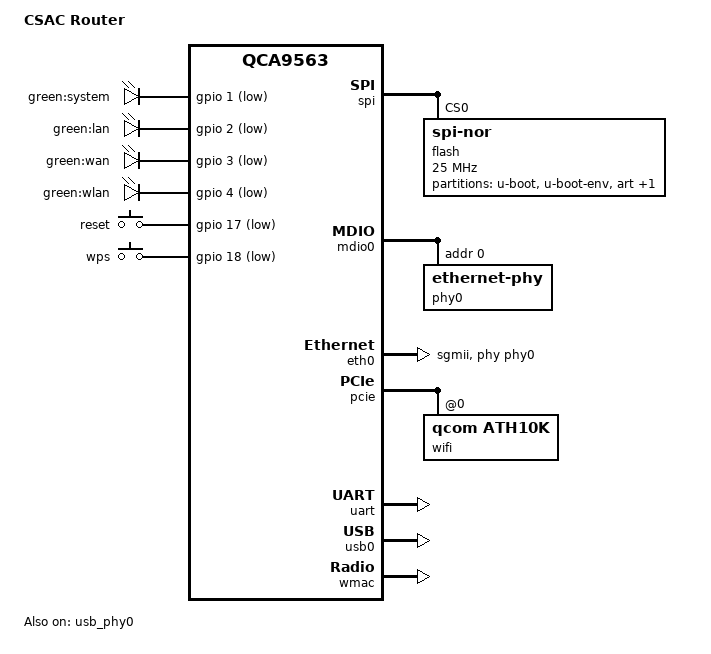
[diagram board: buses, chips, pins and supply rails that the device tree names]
// SPDX-License-Identifier: GPL-2.0-or-later OR MIT
/dts-v1/;
#include "qca956x.dtsi"
#include <dt-bindings/gpio/gpio.h>
#include <dt-bindings/input/input.h>
/ {
	compatible = "csac,csac-router", "qca,qca9563";
	model = "CSAC Router";
	aliases {
		led-boot = &led_system;
		led-failsafe = &led_system;
		led-running = &led_system;
		led-upgrade = &led_system;
	};
	chosen {
		bootargs = "console=ttyS0,115200n8";
	};
	leds {
		compatible = "gpio-leds";
		led_system: system {
			label = "green:system";
			gpios = <&gpio 1 GPIO_ACTIVE_LOW>;
			default-state = "on";
		};
		lan {
			label = "green:lan";
			gpios = <&gpio 2 GPIO_ACTIVE_LOW>;
		};
		wan {
			label = "green:wan";
			gpios = <&gpio 3 GPIO_ACTIVE_LOW>;
		};
		wlan {
			label = "green:wlan";
			gpios = <&gpio 4 GPIO_ACTIVE_LOW>;
			linux,default-trigger = "phy0tpt";
		};
	};
	keys {
		compatible = "gpio-keys";
		reset {
			label = "reset";
			gpios = <&gpio 17 GPIO_ACTIVE_LOW>;
			linux,code = <KEY_RESTART>;
		};
		wps {
			label = "wps";
			gpios = <&gpio 18 GPIO_ACTIVE_LOW>;
			linux,code = <KEY_WPS_BUTTON>;
		};
	};
};
&spi {
	status = "okay";
	flash@0 {
		compatible = "jedec,spi-nor";
		reg = <0>;
		spi-max-frequency = <25000000>;
		partitions {
			compatible = "fixed-partitions";
			#address-cells = <1>;
			#size-cells = <1>;
			partition@0 {
				label = "u-boot";
				reg = <0x000000 0x010000>;
				read-only;
			};
			partition@10000 {
				label = "u-boot-env";
				reg = <0x010000 0x010000>;
			};
			partition@20000 {
				label = "art";
				reg = <0x020000 0x010000>;
				read-only;
			};
			partition@30000 {
				compatible = "denx,uimage";
				label = "firmware";
				reg = <0x030000 0x7d0000>;
			};
		};
	};
};
&mdio0 {
	status = "okay";
	phy0: ethernet-phy@0 {
		reg = <0>;
		phy-mode = "sgmii";
		qca,ar8327-initvals = <
			0x04 0x07600000 /* PORT0 PAD MODE CTRL */
			0x10 0x80000080 /* POWER_ON_STRAP */
			0x50 0xc737c737 /* LED_CTRL0 */
			0x54 0x00000000 /* LED_CTRL1 */
			0x58 0x00000000 /* LED_CTRL2 */
			0x5c 0x00000000 /* LED_CTRL3 */
			0x7c 0x00000000 /* PORT0_STATUS */
			0x94 0x00000000 /* PORT6_STATUS */
		>;
	};
};
&eth0 {
	status = "okay";
	phy-mode = "sgmii";
	phy-handle = <&phy0>;
};
&pcie {
	status = "okay";
	wifi@0,0 {
		compatible = "qcom,ath10k";
		reg = <0x0000 0 0 0 0>;
	};
};
&uart {
	status = "okay";
};
&usb_phy0 {
	status = "okay";
};
&usb0 {
	status = "okay";
};
&wmac {
	status = "okay";
	mtd-cal-data = <&art 0x1000>;
};
